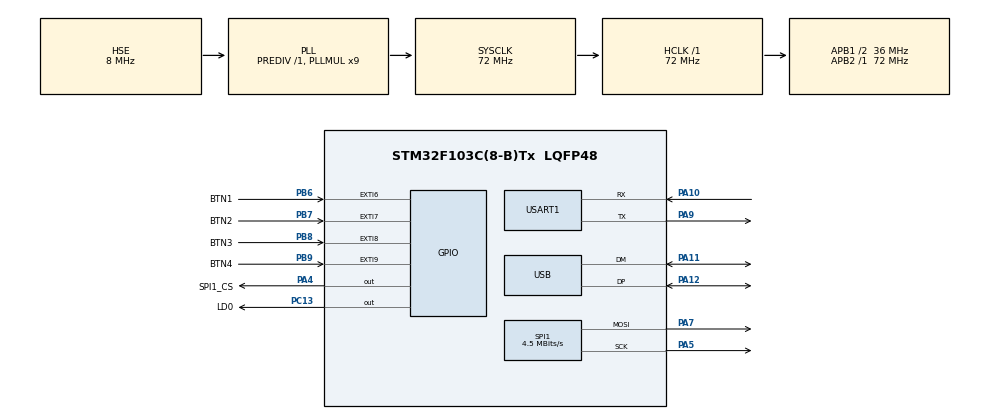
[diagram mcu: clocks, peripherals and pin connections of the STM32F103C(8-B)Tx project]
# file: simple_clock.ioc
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Dma.Request0=USART1_RX
Dma.USART1_RX.0.Direction=DMA_PERIPH_TO_MEMORY
Dma.USART1_RX.0.Instance=DMA1_Channel5
Dma.USART1_RX.0.MemDataAlignment=DMA_MDATAALIGN_BYTE
Dma.USART1_RX.0.MemInc=DMA_MINC_ENABLE
Dma.USART1_RX.0.Mode=DMA_CIRCULAR
Dma.USART1_RX.0.PeriphDataAlignment=DMA_PDATAALIGN_BYTE
Dma.USART1_RX.0.PeriphInc=DMA_PINC_DISABLE
Dma.USART1_RX.0.Priority=DMA_PRIORITY_LOW
Mcu.Family=STM32F1
Mcu.Name=STM32F103C(8-B)Tx
Mcu.Package=LQFP48
NVIC.DMA1_Channel5_IRQn=true\:0\:0\:false\:false\:true\:false\:true
NVIC.EXTI9_5_IRQn=true\:0\:0\:false\:false\:true\:true\:true
NVIC.PriorityGroup=NVIC_PRIORITYGROUP_4
NVIC.USB_LP_CAN1_RX0_IRQn=true\:0\:0\:false\:false\:true\:false\:true
PA10.Mode=Asynchronous
PA10.Signal=USART1_RX
PA11.Mode=Device
PA11.Signal=USB_DM
PA12.Mode=Device
PA12.Signal=USB_DP
PA13.Mode=Serial_Wire
PA13.Signal=SYS_JTMS-SWDIO
PA14.Mode=Serial_Wire
PA14.Signal=SYS_JTCK-SWCLK
PA4.GPIO_Label=SPI1_CS
PA4.Signal=GPIO_Output
PA5.Mode=TX_Only_Simplex_Unidirect_Master
PA5.Signal=SPI1_SCK
PA7.Mode=TX_Only_Simplex_Unidirect_Master
PA7.Signal=SPI1_MOSI
PA9.Mode=Asynchronous
PA9.Signal=USART1_TX
PB6.GPIO_Label=BTN1
PB6.GPIO_ModeDefaultEXTI=GPIO_MODE_IT_RISING_FALLING
PB6.GPIO_PuPd=GPIO_PULLUP
PB6.Signal=GPXTI6
PB7.GPIO_Label=BTN2
PB7.GPIO_ModeDefaultEXTI=GPIO_MODE_IT_RISING_FALLING
PB7.GPIO_PuPd=GPIO_PULLUP
PB7.Signal=GPXTI7
PB8.GPIO_Label=BTN3
PB8.GPIO_ModeDefaultEXTI=GPIO_MODE_IT_RISING_FALLING
PB8.GPIO_PuPd=GPIO_PULLUP
PB8.Signal=GPXTI8
PB9.GPIO_Label=BTN4
PB9.GPIO_ModeDefaultEXTI=GPIO_MODE_IT_RISING_FALLING
PB9.GPIO_PuPd=GPIO_PULLUP
PB9.Signal=GPXTI9
PC13-TAMPER-RTC.GPIO_Label=LD0
PC13-TAMPER-RTC.Signal=GPIO_Output
PC14-OSC32_IN.Mode=LSE-External-Oscillator
PC14-OSC32_IN.Signal=RCC_OSC32_IN
PC15-OSC32_OUT.Mode=LSE-External-Oscillator
PC15-OSC32_OUT.Signal=RCC_OSC32_OUT
PD0-OSC_IN.Mode=HSE-External-Oscillator
PD0-OSC_IN.Signal=RCC_OSC_IN
PD1-OSC_OUT.Mode=HSE-External-Oscillator
PD1-OSC_OUT.Signal=RCC_OSC_OUT
ProjectManager.HeapSize=0x1000
ProjectManager.StackSize=0x1000
ProjectManager.TargetToolchain=STM32CubeIDE
RCC.AHBFreq_Value=72000000
RCC.APB1CLKDivider=RCC_HCLK_DIV2
RCC.APB1Freq_Value=36000000
RCC.APB1TimFreq_Value=72000000
RCC.APB2Freq_Value=72000000
RCC.APB2TimFreq_Value=72000000
RCC.HCLKFreq_Value=72000000
RCC.PLLMUL=RCC_PLL_MUL9
RCC.RTCClockSelection=RCC_RTCCLKSOURCE_LSE
RCC.SYSCLKFreq_VALUE=72000000
RCC.SYSCLKSource=RCC_SYSCLKSOURCE_PLLCLK
RCC.USBFreq_Value=48000000
RCC.USBPrescaler=RCC_USBCLKSOURCE_PLL_DIV1_5
RTC.AutoPrediv=RTC_AUTO_1_SECOND
RTC.Format=RTC_FORMAT_BIN
SPI1.BaudRatePrescaler=SPI_BAUDRATEPRESCALER_16
SPI1.CalculateBaudRate=4.5 MBits/s
SPI1.DataSize=SPI_DATASIZE_16BIT
SPI1.Direction=SPI_DIRECTION_2LINES
SPI1.Mode=SPI_MODE_MASTER
SPI1.VirtualType=VM_MASTER
USART1.VirtualMode=VM_ASYNC
USB_DEVICE.CLASS_NAME_FS=CDC
USB_DEVICE.VirtualMode=Cdc
USB_DEVICE.VirtualModeFS=Cdc_FS
VP_RTC_No_RTC_Output.Mode=RTC_OUT_NO
VP_RTC_VS_RTC_Activate.Mode=RTC_Enabled
VP_RTC_VS_RTC_Calendar.Mode=RTC_Calendar
VP_USB_DEVICE_VS_USB_DEVICE_CDC_FS.Mode=CDC_FS
board=simple_clock

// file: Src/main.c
/* USER CODE BEGIN Header */
/**
  ******************************************************************************
  * @file           : main.c
  * @brief          : Main program body
  ******************************************************************************
  * @attention
  *
  * <h2><center>&copy; Copyright (c) 2019 STMicroelectronics.
  * All rights reserved.</center></h2>
  *
  * This software component is licensed by ST under Ultimate Liberty license
  * SLA0044, the "License"; You may not use this file except in compliance with
  * the License. You may obtain a copy of the License at:
  *                             www.st.com/SLA0044
  *
  ******************************************************************************
  */
/* USER CODE END Header */

#include "main.h"
#include "usb_device.h"

/* USER CODE BEGIN Includes */
#include "usbd_cdc_if.h"
#include <stdio.h>
#include <string.h>

#include "SevenSegment.h"

#define NUM_BUTTONS 4

#define STATE_NORMAL			0
#define STATE_DEBOUNCING1	1
#define STATE_KEYDOWN1		2
#define STATE_HOLDING1		3
#define STATE_PRESSED1		4
#define STATE_DEBOUNCING2	5
#define STATE_KEYDOWN2		6
#define STATE_HOLDING2		7
#define STATE_PRESSED2		8

/* USER CODE END Includes */

RTC_HandleTypeDef hrtc;

SPI_HandleTypeDef hspi1;

UART_HandleTypeDef huart1;
DMA_HandleTypeDef hdma_usart1_rx;

/* USER CODE BEGIN PV */
/* Private variables ---------------------------------------------------------*/
RTC_TimeTypeDef sTime1 = {0};
RTC_DateTypeDef sDate1 = {0};

uint32_t kdtick[NUM_BUTTONS] = {0}, lasttick = 0;
uint8_t state = STATE_NORMAL;
/* USER CODE END PV */

void SystemClock_Config(void);
static void MX_GPIO_Init(void);
static void MX_DMA_Init(void);
static void MX_SPI1_Init(void);
static void MX_USART1_UART_Init(void);
static void MX_RTC_Init(void);
/* USER CODE BEGIN PFP */
/* Private function prototypes -----------------------------------------------*/

/* USER CODE END PFP */

/* USER CODE BEGIN 0 */
void DisplayTime(RTC_TimeTypeDef t)
{
	SevenSegment_SetDigit(1, t.Seconds%10);
	SevenSegment_SetDigit(0, t.Seconds/10);
	SevenSegment_SetDigit(5, t.Minutes%10);
	SevenSegment_SetDigit(4, t.Minutes/10);
	SevenSegment_SetDigit(3, t.Hours%10);
	if(t.Hours>=10)
		SevenSegment_SetDigit(2, t.Hours/10);
	else
		SevenSegment_SetDigit(2, 15);
}

void IncTimeDigit(uint8_t digittoset)
{
	uint8_t num0 = 0;

		switch(digittoset)
		{
			case 1:
				num0 = sTime1.Hours%10;

				if(num0 == 9)
					sTime1.Hours-=9;
				else
					sTime1.Hours++;
				break;
			case 2:
				num0 = sTime1.Hours/10;

				if(num0 == 2)
					sTime1.Hours-=20;
				else
					sTime1.Hours+=10;

				while(sTime1.Hours > 24)
					sTime1.Hours-=10;

				break;
			case 3:
				num0 = sTime1.Minutes%10;

				if(num0 == 9)
					sTime1.Minutes-=9;
				else
					sTime1.Minutes++;
				break;
			case 4:
				num0 = sTime1.Minutes/10;

				if(num0 == 5)
					sTime1.Minutes-=50;
				else
					sTime1.Minutes+=10;
				break;
			case 5:  // seconds
				sTime1.Seconds = 0;
				break;
		}
}
/* USER CODE END 0 */

int main(void)
{
  /* USER CODE BEGIN 1 */
	char s[20];
	uint32_t nowtick, updatetick = 0;
	uint8_t digittoset = 0;
	RTC_TimeTypeDef newtime;
	RTC_DateTypeDef newdate;

  /* USER CODE END 1 */

  /* MCU Configuration--------------------------------------------------------*/

  /* Reset of all peripherals, Initializes the Flash interface and the Systick. */
  HAL_Init();

  /* Configure the system clock */
  SystemClock_Config();

  /* Initialize all configured peripherals */
  MX_GPIO_Init();
  MX_DMA_Init();
  MX_SPI1_Init();
  MX_USART1_UART_Init();
  MX_USB_DEVICE_Init();
  MX_RTC_Init();
  /* USER CODE BEGIN 2 */

	UNUSED(s);
	HAL_Delay(100);
	SevenSegment_Init(8, SPI1_CS_GPIO_Port, SPI1_CS_Pin, 3, &hspi1);
	SevenSegment_SetPeriod(6, 1);

	state = STATE_NORMAL;
  /* USER CODE END 2 */

  /* Infinite loop */
  while (1)
  {

    /* USER CODE BEGIN 3 */
		nowtick = HAL_GetTick();

		switch(state)
		{
			case STATE_NORMAL:
					if(nowtick - lasttick < 50)
						continue;

					if(HAL_GPIO_ReadPin(BTN1_GPIO_Port, BTN1_Pin) == GPIO_PIN_RESET)
					{
						kdtick[0] = HAL_GetTick();  // start counting
						state = STATE_DEBOUNCING1;
						break;
					}
					if(HAL_GPIO_ReadPin(BTN2_GPIO_Port, BTN2_Pin) == GPIO_PIN_RESET)
					{
						kdtick[1] = HAL_GetTick();  // start counting
						state = STATE_DEBOUNCING2;
						break;
					}

			// BTN1 states
			case STATE_DEBOUNCING1:
				if(HAL_GPIO_ReadPin(BTN1_GPIO_Port, BTN1_Pin) == GPIO_PIN_RESET)
				{
					 if(nowtick - kdtick[0] > 50)
						state = STATE_KEYDOWN1;
				}
				else
					state = STATE_NORMAL;

				break;
			case STATE_KEYDOWN1:
				if(HAL_GPIO_ReadPin(BTN1_GPIO_Port, BTN1_Pin) == GPIO_PIN_SET)
					state = STATE_PRESSED1;

				// we are not implementing BTN1 held down
				break;
			case STATE_PRESSED1:
				lasttick = HAL_GetTick();

				// we do something here and move back to normal after
				digittoset++;
				if(digittoset > 5)
					digittoset = 0;
				else
					SevenSegment_SetPeriod(6, 1);

				switch(digittoset)
				{
				case 1:  // hour unit
					HAL_RTC_GetTime(&hrtc, &sTime1, RTC_FORMAT_BIN);
					HAL_RTC_GetDate(&hrtc, &sDate1, RTC_FORMAT_BIN);

					SevenSegment_SetPeriod(3, 1);
					break;
				case 2:  // hour tenth
					SevenSegment_SetPeriod(3, 0);
					SevenSegment_SetPeriod(2, 1);
					break;
				case 3:  // minute unit
					SevenSegment_SetPeriod(2, 0);
					SevenSegment_SetPeriod(5, 1);
					break;
				case 4:  // minute tenth
					SevenSegment_SetPeriod(5, 0);
					SevenSegment_SetPeriod(4, 1);
					break;
				case 5:  // seconds
					SevenSegment_SetPeriod(4, 0);
					SevenSegment_SetPeriod(1, 1);
					break;
				case 0:
					SevenSegment_SetPeriod(1, 0);

					HAL_RTC_SetTime(&hrtc, &sTime1, RTC_FORMAT_BIN);
					break;
				}

				state = STATE_NORMAL;
				break;

			// BTN2 states
			case STATE_DEBOUNCING2:
				if(HAL_GPIO_ReadPin(BTN2_GPIO_Port, BTN2_Pin) == GPIO_PIN_RESET)
				{
					 if(nowtick - kdtick[1] > 50)
						state = STATE_KEYDOWN2;
				}
				else
					state = STATE_NORMAL;

				break;
			case STATE_KEYDOWN2:
				if(HAL_GPIO_ReadPin(BTN2_GPIO_Port, BTN2_Pin) == GPIO_PIN_SET)
					state = STATE_PRESSED2;

				if(nowtick - kdtick[1] > 1000)
					state = STATE_HOLDING2;
				break;
			case STATE_HOLDING2:
				if(HAL_GPIO_ReadPin(BTN2_GPIO_Port, BTN2_Pin) == GPIO_PIN_SET)
					state = STATE_NORMAL;

				if(digittoset > 0)
				{
					IncTimeDigit(digittoset);
					DisplayTime(sTime1);
					HAL_Delay(200);
				}
				break;
			case STATE_PRESSED2:
				lasttick = HAL_GetTick();

				// set time
				if(digittoset > 0)
				{
					IncTimeDigit(digittoset);
					DisplayTime(sTime1);
				}

				state = STATE_NORMAL;
				break;
		}

		if(state == STATE_NORMAL)
		{
			// display time
			if(digittoset == 0)
			{
				HAL_RTC_GetTime(&hrtc, &newtime, RTC_FORMAT_BIN);
				HAL_RTC_GetDate(&hrtc, &newdate, RTC_FORMAT_BIN);

				if(newtime.Hours != sTime1.Hours || newtime.Minutes!=sTime1.Minutes || newtime.Seconds!=sTime1.Seconds)
				{
					sTime1 = newtime;

					DisplayTime(sTime1);

					updatetick = nowtick;
					SevenSegment_SetPeriod(6, 1);

					sprintf(s, "%d:%d:%d\r\n", sTime1.Hours, sTime1.Minutes, sTime1.Seconds);
					CDC_Transmit_FS(s, strlen(s));
				}

				if(nowtick - updatetick >= 500)
						SevenSegment_SetPeriod(6, 0);
			}
		}
	}
  /* USER CODE END 3 */
}

void SystemClock_Config(void)
{
  RCC_OscInitTypeDef RCC_OscInitStruct = {0};
  RCC_ClkInitTypeDef RCC_ClkInitStruct = {0};
  RCC_PeriphCLKInitTypeDef PeriphClkInit = {0};

  /** Initializes the CPU, AHB and APB busses clocks
  */
  RCC_OscInitStruct.OscillatorType = RCC_OSCILLATORTYPE_HSE|RCC_OSCILLATORTYPE_LSE;
  RCC_OscInitStruct.HSEState = RCC_HSE_ON;
  RCC_OscInitStruct.HSEPredivValue = RCC_HSE_PREDIV_DIV1;
  RCC_OscInitStruct.LSEState = RCC_LSE_ON;
  RCC_OscInitStruct.HSIState = RCC_HSI_ON;
  RCC_OscInitStruct.PLL.PLLState = RCC_PLL_ON;
  RCC_OscInitStruct.PLL.PLLSource = RCC_PLLSOURCE_HSE;
  RCC_OscInitStruct.PLL.PLLMUL = RCC_PLL_MUL9;
  if (HAL_RCC_OscConfig(&RCC_OscInitStruct) != HAL_OK)
  {
    Error_Handler();
  }
  /** Initializes the CPU, AHB and APB busses clocks
  */
  RCC_ClkInitStruct.ClockType = RCC_CLOCKTYPE_HCLK|RCC_CLOCKTYPE_SYSCLK
                              |RCC_CLOCKTYPE_PCLK1|RCC_CLOCKTYPE_PCLK2;
  RCC_ClkInitStruct.SYSCLKSource = RCC_SYSCLKSOURCE_PLLCLK;
  RCC_ClkInitStruct.AHBCLKDivider = RCC_SYSCLK_DIV1;
  RCC_ClkInitStruct.APB1CLKDivider = RCC_HCLK_DIV2;
  RCC_ClkInitStruct.APB2CLKDivider = RCC_HCLK_DIV1;

  if (HAL_RCC_ClockConfig(&RCC_ClkInitStruct, FLASH_LATENCY_2) != HAL_OK)
  {
    Error_Handler();
  }
  PeriphClkInit.PeriphClockSelection = RCC_PERIPHCLK_RTC|RCC_PERIPHCLK_USB;
  PeriphClkInit.RTCClockSelection = RCC_RTCCLKSOURCE_LSE;
  PeriphClkInit.UsbClockSelection = RCC_USBCLKSOURCE_PLL_DIV1_5;
  if (HAL_RCCEx_PeriphCLKConfig(&PeriphClkInit) != HAL_OK)
  {
    Error_Handler();
  }
}

static void MX_RTC_Init(void)
{

  RTC_TimeTypeDef sTime = {0};
  RTC_DateTypeDef DateToUpdate = {0};

  /** Initialize RTC Only
  */
  hrtc.Instance = RTC;
  hrtc.Init.AsynchPrediv = RTC_AUTO_1_SECOND;
  hrtc.Init.OutPut = RTC_OUTPUTSOURCE_NONE;
  if (HAL_RTC_Init(&hrtc) != HAL_OK)
  {
    Error_Handler();
  }

  /** Initialize RTC and set the Time and Date
  */
  sTime.Hours = 0;
  sTime.Minutes = 0;
  sTime.Seconds = 0;

  if (HAL_RTC_SetTime(&hrtc, &sTime, RTC_FORMAT_BIN) != HAL_OK)
  {
    Error_Handler();
  }
  DateToUpdate.WeekDay = RTC_WEEKDAY_MONDAY;
  DateToUpdate.Month = RTC_MONTH_JANUARY;
  DateToUpdate.Date = 1;
  DateToUpdate.Year = 0;

  if (HAL_RTC_SetDate(&hrtc, &DateToUpdate, RTC_FORMAT_BIN) != HAL_OK)
  {
    Error_Handler();
  }

}

static void MX_SPI1_Init(void)
{

  /* SPI1 parameter configuration*/
  hspi1.Instance = SPI1;
  hspi1.Init.Mode = SPI_MODE_MASTER;
  hspi1.Init.Direction = SPI_DIRECTION_2LINES;
  hspi1.Init.DataSize = SPI_DATASIZE_16BIT;
  hspi1.Init.CLKPolarity = SPI_POLARITY_LOW;
  hspi1.Init.CLKPhase = SPI_PHASE_1EDGE;
  hspi1.Init.NSS = SPI_NSS_SOFT;
  hspi1.Init.BaudRatePrescaler = SPI_BAUDRATEPRESCALER_16;
  hspi1.Init.FirstBit = SPI_FIRSTBIT_MSB;
  hspi1.Init.TIMode = SPI_TIMODE_DISABLE;
  hspi1.Init.CRCCalculation = SPI_CRCCALCULATION_DISABLE;
  hspi1.Init.CRCPolynomial = 10;
  if (HAL_SPI_Init(&hspi1) != HAL_OK)
  {
    Error_Handler();
  }

}

static void MX_USART1_UART_Init(void)
{

  huart1.Instance = USART1;
  huart1.Init.BaudRate = 115200;
  huart1.Init.WordLength = UART_WORDLENGTH_8B;
  huart1.Init.StopBits = UART_STOPBITS_1;
  huart1.Init.Parity = UART_PARITY_NONE;
  huart1.Init.Mode = UART_MODE_TX_RX;
  huart1.Init.HwFlowCtl = UART_HWCONTROL_NONE;
  huart1.Init.OverSampling = UART_OVERSAMPLING_16;
  if (HAL_UART_Init(&huart1) != HAL_OK)
  {
    Error_Handler();
  }

}

static void MX_DMA_Init(void)
{

  /* DMA controller clock enable */
  __HAL_RCC_DMA1_CLK_ENABLE();

  /* DMA interrupt init */
  /* DMA1_Channel5_IRQn interrupt configuration */
  HAL_NVIC_SetPriority(DMA1_Channel5_IRQn, 0, 0);
  HAL_NVIC_EnableIRQ(DMA1_Channel5_IRQn);

}

static void MX_GPIO_Init(void)
{
  GPIO_InitTypeDef GPIO_InitStruct = {0};

  /* GPIO Ports Clock Enable */
  __HAL_RCC_GPIOC_CLK_ENABLE();
  __HAL_RCC_GPIOD_CLK_ENABLE();
  __HAL_RCC_GPIOA_CLK_ENABLE();
  __HAL_RCC_GPIOB_CLK_ENABLE();

  /*Configure GPIO pin Output Level */
  HAL_GPIO_WritePin(LD0_GPIO_Port, LD0_Pin, GPIO_PIN_RESET);

  /*Configure GPIO pin Output Level */
  HAL_GPIO_WritePin(SPI1_CS_GPIO_Port, SPI1_CS_Pin, GPIO_PIN_RESET);

  /*Configure GPIO pin : LD0_Pin */
  GPIO_InitStruct.Pin = LD0_Pin;
  GPIO_InitStruct.Mode = GPIO_MODE_OUTPUT_PP;
  GPIO_InitStruct.Pull = GPIO_NOPULL;
  GPIO_InitStruct.Speed = GPIO_SPEED_FREQ_LOW;
  HAL_GPIO_Init(LD0_GPIO_Port, &GPIO_InitStruct);

  /*Configure GPIO pin : SPI1_CS_Pin */
  GPIO_InitStruct.Pin = SPI1_CS_Pin;
  GPIO_InitStruct.Mode = GPIO_MODE_OUTPUT_PP;
  GPIO_InitStruct.Pull = GPIO_NOPULL;
  GPIO_InitStruct.Speed = GPIO_SPEED_FREQ_LOW;
  HAL_GPIO_Init(SPI1_CS_GPIO_Port, &GPIO_InitStruct);

  /*Configure GPIO pins : BTN1_Pin BTN2_Pin BTN3_Pin BTN4_Pin */
  GPIO_InitStruct.Pin = BTN1_Pin|BTN2_Pin|BTN3_Pin|BTN4_Pin;
  GPIO_InitStruct.Mode = GPIO_MODE_IT_RISING_FALLING;
  GPIO_InitStruct.Pull = GPIO_PULLUP;
  HAL_GPIO_Init(GPIOB, &GPIO_InitStruct);

  /* EXTI interrupt init*/
  HAL_NVIC_SetPriority(EXTI9_5_IRQn, 0, 0);
  HAL_NVIC_EnableIRQ(EXTI9_5_IRQn);

}

/* USER CODE BEGIN 4 */
void HAL_SYSTICK_Callback(void)
{
	if((HAL_GetTick()%1000) == 0)
		HAL_GPIO_TogglePin(LD0_GPIO_Port, LD0_Pin);
}

/* USER CODE END 4 */

void Error_Handler(void)
{
  while(1)
  {
  }
}

/************************ (C) COPYRIGHT STMicroelectronics *****END OF FILE****/
